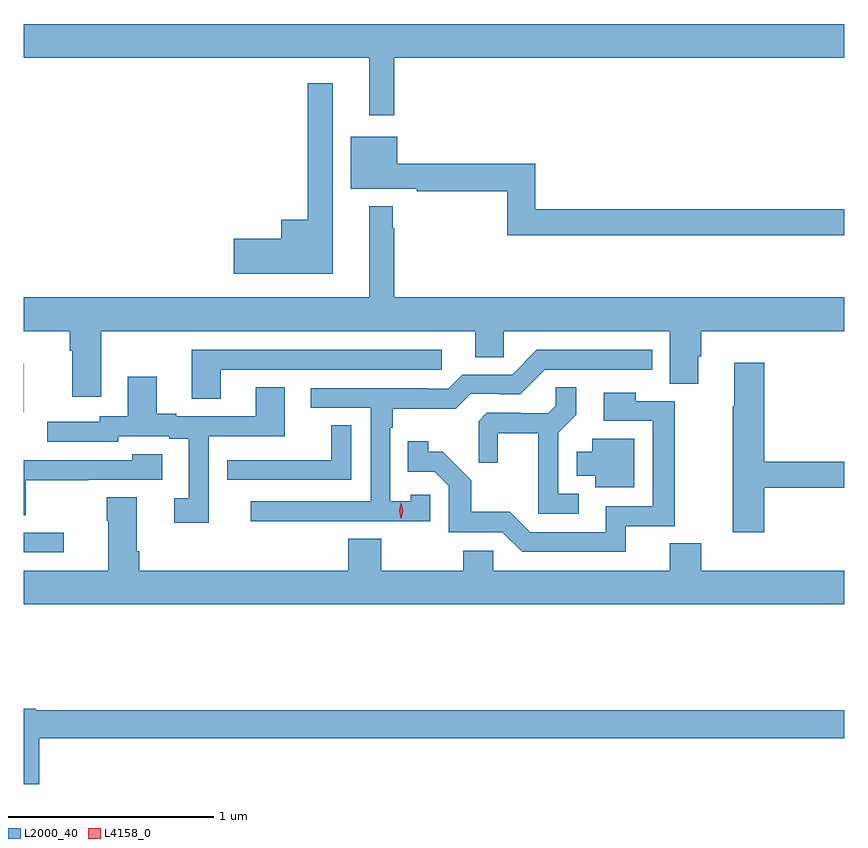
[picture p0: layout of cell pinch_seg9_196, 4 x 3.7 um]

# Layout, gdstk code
import gdstk
lib = gdstk.Library(unit=1e-6, precision=1e-09)
def R(c, l, rs):  # rectangles x0, y0, x1, y1
    for r in rs: c.add(gdstk.rectangle(r[:2], r[2:], *l))
def P(c, l, *ps):  # polygons
    for p in ps: c.add(gdstk.Polygon(p, *l))
L2000_40 = (2000, 40)
L4158_0 = (4158, 0)

pinch_seg9_196 = lib.new_cell('pinch_seg9_196')
R(pinch_seg9_196, L2000_40, [(555.049,1227.309,555.244,1227.405), (555.049,1227.992,555.051,1228.231)])
P(pinch_seg9_196, L2000_40, [(556.855,1229.72),(559.049,1229.72),(559.049,1229.884),(555.049,1229.884),(555.049,1229.72),(556.733,1229.72),(556.733,1229.439),(556.855,1229.439)],
  [(556.555,1229.596),(556.434,1229.596),(556.434,1228.93),(556.304,1228.93),(556.304,1228.838),(556.074,1228.838),(556.074,1228.667),(556.555,1228.667)],
  [(559.049,1228.982),(557.543,1228.982),(557.543,1229.204),(556.87,1229.204),(556.87,1229.335),(556.643,1229.335),(556.643,1229.081),(556.966,1229.081),(556.966,1229.068),(557.407,1229.068),(557.407,1228.854),(559.049,1228.854)],
  [(555.049,1228.388),(555.275,1228.388),(555.275,1228.292),(555.287,1228.292),(555.287,1228.068),(555.427,1228.068),(555.427,1228.388),(557.249,1228.388),(557.249,1228.261),(557.388,1228.261),(557.388,1228.388),(558.197,1228.388),(558.197,1228.132),(558.337,1228.132),(558.337,1228.266),(558.35,1228.266),(558.35,1228.388),(559.049,1228.388),(559.049,1228.552),(556.855,1228.552),(556.855,1228.889),(556.848,1228.889),(556.848,1228.996),(556.733,1228.996),(556.733,1228.552),(555.049,1228.552)],
  [(556.009,1228.2),(557.086,1228.2),(557.086,1228.296),(555.869,1228.296),(555.869,1228.057),(556.009,1228.057)],
  [(556.547,1227.462),(557.031,1227.462),(557.031,1227.591),(556.935,1227.591),(556.935,1227.559),(556.836,1227.559),(556.836,1227.917),(556.849,1227.917),(556.849,1228.01),(557.156,1228.01),(557.229,1228.083),(557.368,1228.083),(557.368,1228.08),(557.469,1228.08),(557.589,1228.2),(558.112,1228.2),(558.112,1228.296),(557.55,1228.296),(557.43,1228.176),(557.187,1228.176),(557.118,1228.107),(557.018,1228.107),(557.018,1228.11),(556.449,1228.11),(556.449,1228.014),(556.74,1228.014),(556.74,1227.558),(556.155,1227.558),(556.155,1227.46),(556.547,1227.46)],
  [(558.659,1227.624),(559.049,1227.624),(559.049,1227.752),(558.659,1227.752),(558.659,1228.234),(558.512,1228.234),(558.512,1228.021),(558.505,1228.021),(558.505,1227.408),(558.659,1227.408)],
  [(555.951,1227.876),(556.321,1227.876),(556.321,1228.115),(556.181,1228.115),(556.181,1227.972),(555.793,1227.972),(555.793,1227.985),(555.697,1227.985),(555.697,1228.165),(555.557,1228.165),(555.557,1227.972),(555.42,1227.972),(555.42,1227.945),(555.165,1227.945),(555.165,1227.849),(555.51,1227.849),(555.51,1227.876),(555.758,1227.876),(555.758,1227.864),(555.854,1227.864),(555.854,1227.573),(555.783,1227.573),(555.783,1227.453),(555.951,1227.453)],
  [(557.755,1227.594),(557.655,1227.594),(557.655,1227.893),(557.741,1227.979),(557.741,1228.115),(557.643,1228.115),(557.643,1228.024),(557.606,1227.987),(557.472,1227.987),(557.472,1227.99),(557.307,1227.99),(557.266,1227.949),(557.266,1227.747),(557.36,1227.747),(557.36,1227.89),(557.558,1227.89),(557.558,1227.498),(557.755,1227.498)],
  [(557.984,1227.438),(558.223,1227.438),(558.223,1228.047),(558.033,1228.047),(558.033,1228.087),(557.877,1228.087),(557.877,1227.951),(558.114,1227.951),(558.114,1227.534),(557.885,1227.534),(557.885,1227.408),(557.517,1227.408),(557.419,1227.507),(557.23,1227.507),(557.23,1227.662),(557.092,1227.8),(557.022,1227.8),(557.022,1227.85),(556.921,1227.85),(556.921,1227.702),(557.052,1227.702),(557.121,1227.633),(557.121,1227.408),(557.382,1227.408),(557.478,1227.312),(557.984,1227.312)],
  [(556.647,1227.929),(556.549,1227.929),(556.549,1227.759),(556.153,1227.759),(556.153,1227.758),(556.041,1227.758),(556.041,1227.663),(556.647,1227.663)],
  [(558.025,1227.862),(557.819,1227.862),(557.819,1227.799),(557.744,1227.799),(557.744,1227.683),(557.834,1227.683),(557.834,1227.626),(558.025,1227.626)],
  [(555.061,1227.661),(555.365,1227.661),(555.365,1227.663),(555.724,1227.663),(555.724,1227.787),(555.579,1227.787),(555.579,1227.759),(555.049,1227.759),(555.049,1227.49),(555.061,1227.49)],
  [(559.049,1227.22),(558.35,1227.22),(558.35,1227.353),(558.197,1227.353),(558.197,1227.22),(557.337,1227.22),(557.337,1227.318),(557.191,1227.318),(557.191,1227.22),(556.791,1227.22),(556.791,1227.377),(556.631,1227.377),(556.631,1227.22),(555.614,1227.22),(555.614,1227.316),(555.601,1227.316),(555.601,1227.577),(555.454,1227.577),(555.454,1227.464),(555.461,1227.464),(555.461,1227.22),(555.049,1227.22),(555.049,1227.056),(559.049,1227.056)],
  [(555.125,1226.404),(559.049,1226.404),(559.049,1226.54),(555.108,1226.54),(555.108,1226.548),(555.049,1226.548),(555.049,1226.181),(555.125,1226.181)])
P(pinch_seg9_196, L4158_0, [(556.888,1227.477),(556.879,1227.513),(556.888,1227.549),(556.889,1227.549),(556.889,1227.549),(556.899,1227.513),(556.889,1227.477),(556.889,1227.477)])

lib.write_gds('pinch_seg9_196.gds')
